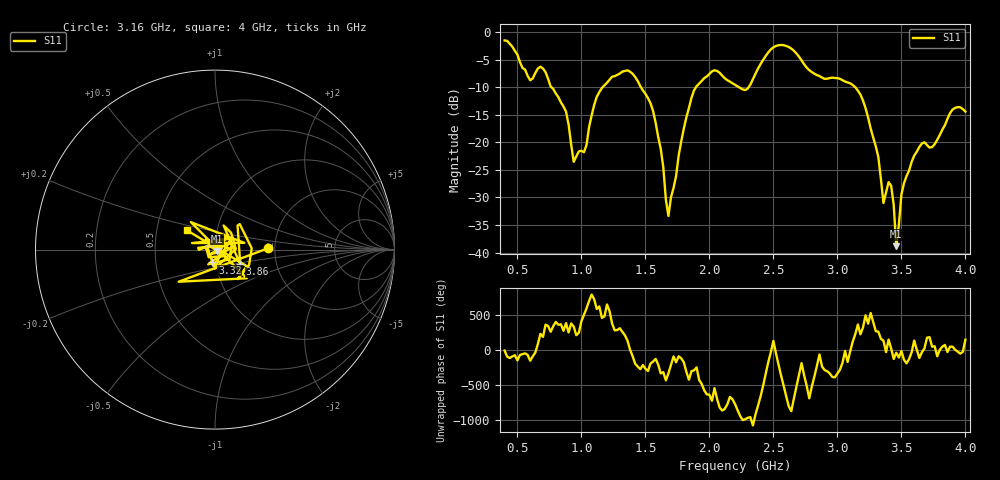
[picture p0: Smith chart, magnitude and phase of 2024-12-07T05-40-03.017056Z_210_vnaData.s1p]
!Created with skrf (http://scikit-rf.org).
# Hz S RI R 50.0
!freq ReS11 ImS11
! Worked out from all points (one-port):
!   181 points, 400 MHz to 4 GHz, reference 50 ohm
!   lowest |S11| = -38.9 dB at 3.46 GHz (marker M1), VSWR 1.02, Z = 50.9 - j0.746 ohm
!   |S11| at or under -10 dB: 764.3 MHz to 1.167 GHz (402.4 MHz wide, 41.7 % of centre); 1.465 GHz to 1.896 GHz (430.9 MHz wide, 25.6 % of centre); 3.139 GHz to end of sweep (the widest 3 of 4)
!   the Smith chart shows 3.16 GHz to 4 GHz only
!   S11 on the Smith chart (normalised r, x): 3.16 GHz: 1.83, +0.03; 3.32 GHz: 0.96, -0.14; 3.86 GHz: 1.31, -0.22; 4 GHz: 0.71, +0.16
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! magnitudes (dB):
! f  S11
! 400 MHz  -1.5
! 600 MHz  -8.8
! 700 MHz  -6.6
! 860 MHz  -13.5
! 940 MHz  -23.6
! 1.02 GHz  -21.8
! 1.12 GHz  -11.8
! 1.3 GHz  -7.5
! 1.54 GHz  -12.9
! 1.62 GHz  -21.2
! 1.68 GHz  -33.4
! 1.76 GHz  -22.4
! 1.9 GHz  -9.8
! 2.04 GHz  -7.0
! 2.2 GHz  -9.6
! 2.3 GHz  -10.3
! 2.5 GHz  -2.8
! 2.66 GHz  -3.4
! 3.1 GHz  -9.3
! 3.16 GHz  -10.6
! 3.32 GHz  -22.7
! 3.36 GHz  -31.0
! 3.42 GHz  -27.9
! 3.46 GHz  -38.9
! 3.5 GHz  -29.5
! 3.56 GHz  -25.1
! 3.86 GHz  -15.8
! 4 GHz  -14.4
